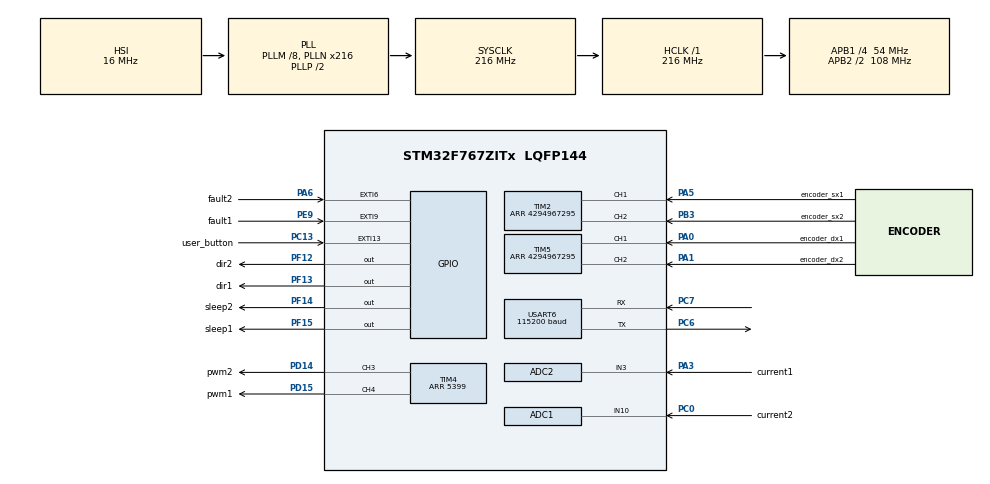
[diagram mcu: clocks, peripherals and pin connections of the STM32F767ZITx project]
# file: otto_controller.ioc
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ADC1.Channel-0\#ChannelRegularConversion=ADC_CHANNEL_10
ADC1.ContinuousConvMode=DISABLE
ADC1.ExternalTrigConv=ADC_EXTERNALTRIGCONV_T8_TRGO
ADC1.NbrOfConversionFlag=1
ADC1.Rank-0\#ChannelRegularConversion=1
ADC1.SamplingTime-0\#ChannelRegularConversion=ADC_SAMPLETIME_3CYCLES
ADC1.master=1
ADC2.Channel-0\#ChannelRegularConversion=ADC_CHANNEL_3
ADC2.ExternalTrigConv=ADC_EXTERNALTRIGCONV_T8_TRGO
ADC2.NbrOfConversionFlag=1
ADC2.Rank-0\#ChannelRegularConversion=1
ADC2.SamplingTime-0\#ChannelRegularConversion=ADC_SAMPLETIME_3CYCLES
CORTEX_M7.ART_ACCLERATOR_ENABLE=0
CORTEX_M7.CPU_DCache=Disabled
CORTEX_M7.CPU_ICache=Disabled
CORTEX_M7.PREFETCH_ENABLE=0
Dma.Request0=USART6_TX
Dma.Request1=USART6_RX
Dma.USART6_RX.1.Direction=DMA_PERIPH_TO_MEMORY
Dma.USART6_RX.1.FIFOMode=DMA_FIFOMODE_DISABLE
Dma.USART6_RX.1.Instance=DMA2_Stream1
Dma.USART6_RX.1.MemDataAlignment=DMA_MDATAALIGN_BYTE
Dma.USART6_RX.1.MemInc=DMA_MINC_ENABLE
Dma.USART6_RX.1.Mode=DMA_NORMAL
Dma.USART6_RX.1.PeriphDataAlignment=DMA_PDATAALIGN_BYTE
Dma.USART6_RX.1.PeriphInc=DMA_PINC_DISABLE
Dma.USART6_RX.1.Priority=DMA_PRIORITY_LOW
Dma.USART6_TX.0.Direction=DMA_MEMORY_TO_PERIPH
Dma.USART6_TX.0.FIFOMode=DMA_FIFOMODE_DISABLE
Dma.USART6_TX.0.Instance=DMA2_Stream6
Dma.USART6_TX.0.MemDataAlignment=DMA_MDATAALIGN_BYTE
Dma.USART6_TX.0.MemInc=DMA_MINC_ENABLE
Dma.USART6_TX.0.Mode=DMA_NORMAL
Dma.USART6_TX.0.PeriphDataAlignment=DMA_PDATAALIGN_BYTE
Dma.USART6_TX.0.PeriphInc=DMA_PINC_DISABLE
Dma.USART6_TX.0.Priority=DMA_PRIORITY_LOW
Mcu.Family=STM32F7
Mcu.Name=STM32F767ZITx
Mcu.Package=LQFP144
NVIC.ADC_IRQn=true\:0\:0\:false\:false\:true\:true\:true\:true
NVIC.DMA2_Stream1_IRQn=true\:0\:0\:false\:true\:true\:4\:false\:true\:true
NVIC.DMA2_Stream6_IRQn=true\:0\:0\:false\:true\:true\:3\:false\:true\:true
NVIC.EXTI15_10_IRQn=true\:0\:0\:false\:false\:true\:true\:true\:true
NVIC.PriorityGroup=NVIC_PRIORITYGROUP_2
NVIC.TIM6_DAC_IRQn=true\:1\:2\:true\:true\:true\:1\:true\:true\:true
NVIC.USART6_IRQn=true\:0\:0\:true\:true\:true\:2\:true\:true\:true
PA0/WKUP.GPIO_Label=encoder_dx1
PA0/WKUP.Signal=S_TIM5_CH1
PA1.GPIO_Label=encoder_dx2
PA1.Signal=S_TIM5_CH2
PA13.Mode=Serial_Wire
PA13.Signal=SYS_JTMS-SWDIO
PA14.Mode=Serial_Wire
PA14.Signal=SYS_JTCK-SWCLK
PA3.GPIO_Label=current1
PA3.Signal=ADCx_IN3
PA5.GPIO_Label=encoder_sx1
PA5.Signal=S_TIM2_CH1_ETR
PA6.GPIO_Label=fault2
PA6.GPIO_ModeDefaultEXTI=GPIO_MODE_IT_FALLING
PA6.GPIO_PuPd=GPIO_PULLUP
PA6.Signal=GPXTI6
PB3.GPIO_Label=encoder_sx2
PB3.Signal=S_TIM2_CH2
PC0.GPIO_Label=current2
PC0.Signal=ADCx_IN10
PC13.GPIO_Label=user_button
PC13.Signal=GPXTI13
PC6.GPIO_Speed=GPIO_SPEED_FREQ_LOW
PC6.Mode=Asynchronous
PC6.Signal=USART6_TX
PC7.GPIO_Speed=GPIO_SPEED_FREQ_LOW
PC7.Mode=Asynchronous
PC7.Signal=USART6_RX
PD14.GPIO_Label=pwm2
PD14.Signal=S_TIM4_CH3
PD15.GPIO_Label=pwm1
PD15.Signal=S_TIM4_CH4
PE9.GPIO_Label=fault1
PE9.GPIO_ModeDefaultEXTI=GPIO_MODE_IT_FALLING
PE9.GPIO_PuPd=GPIO_PULLUP
PE9.Signal=GPXTI9
PF12.GPIO_Label=dir2
PF12.Signal=GPIO_Output
PF13.GPIO_Label=dir1
PF13.Signal=GPIO_Output
PF14.GPIO_Label=sleep2
PF14.GPIO_ModeDefaultOutputPP=GPIO_MODE_OUTPUT_PP
PF14.GPIO_PuPd=GPIO_PULLUP
PF14.PinState=GPIO_PIN_SET
PF14.Signal=GPIO_Output
PF15.GPIO_Label=sleep1
PF15.GPIO_PuPd=GPIO_PULLUP
PF15.PinState=GPIO_PIN_SET
PF15.Signal=GPIO_Output
ProjectManager.HeapSize=0x200
ProjectManager.StackSize=0x400
ProjectManager.TargetToolchain=STM32CubeIDE
RCC.AHBFreq_Value=216000000
RCC.APB1CLKDivider=RCC_HCLK_DIV4
RCC.APB1Freq_Value=54000000
RCC.APB1TimFreq_Value=108000000
RCC.APB2CLKDivider=RCC_HCLK_DIV2
RCC.APB2Freq_Value=108000000
RCC.APB2TimFreq_Value=216000000
RCC.CortexFreq_Value=216000000
RCC.HCLKFreq_Value=216000000
RCC.HSE_VALUE=25000000
RCC.HSI_VALUE=16000000
RCC.LSE_VALUE=32768
RCC.PLLM=8
RCC.PLLN=216
RCC.SYSCLKFreq_VALUE=216000000
RCC.SYSCLKSource=RCC_SYSCLKSOURCE_PLLCLK
RCC.USBFreq_Value=216000000
RCC.VCOOutputFreq_Value=432000000
SH.ADCx_IN10.0=ADC1_IN10,IN10
SH.ADCx_IN3.0=ADC2_IN3,IN3
SH.S_TIM2_CH1_ETR.0=TIM2_CH1,Encoder_Interface
SH.S_TIM2_CH2.0=TIM2_CH2,Encoder_Interface
SH.S_TIM4_CH3.0=TIM4_CH3,PWM Generation3 CH3
SH.S_TIM4_CH4.0=TIM4_CH4,PWM Generation4 CH4
SH.S_TIM5_CH1.0=TIM5_CH1,Encoder_Interface
SH.S_TIM5_CH2.0=TIM5_CH2,Encoder_Interface
TIM2.EncoderMode=TIM_ENCODERMODE_TI12
TIM2.Period=4294967295
TIM4.Channel-PWM\ Generation3\ CH3=TIM_CHANNEL_3
TIM4.Channel-PWM\ Generation4\ CH4=TIM_CHANNEL_4
TIM4.Period=5399
TIM5.EncoderMode=TIM_ENCODERMODE_TI12
TIM5.Period=4294967295
TIM6.Period=107
TIM6.Prescaler=9999
TIM8.Channel-PWM\ Generation1\ No\ Output=TIM_CHANNEL_1
TIM8.Period=2699
TIM8.TIM_MasterOutputTrigger=TIM_TRGO_UPDATE
USART6.BaudRate=115200
USART6.DMADisableonRxErrorParam=ADVFEATURE_DMA_DISABLEONRXERROR
USART6.Parity=PARITY_NONE
USART6.VirtualMode-Asynchronous=VM_ASYNC
USART6.WordLength=WORDLENGTH_8B
VP_CRC_VS_CRC.Mode=CRC_Activate
VP_TIM4_VS_ClockSourceINT.Mode=Internal
VP_TIM6_VS_ClockSourceINT.Mode=Enable_Timer
VP_TIM8_VS_no_output1.Mode=PWM Generation1 No Output
board=custom

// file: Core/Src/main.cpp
/* USER CODE BEGIN Header */
/**
 ******************************************************************************
 * @file           : main.c
 * @brief          : Main program body
 ******************************************************************************
 * @attention
 *
 * <h2><center>&copy; Copyright (c) 2019 STMicroelectronics.
 * All rights reserved.</center></h2>
 *
 * This software component is licensed by ST under BSD 3-Clause license,
 * the "License"; You may not use this file except in compliance with the
 * License. You may obtain a copy of the License at:
 *                        opensource.org/licenses/BSD-3-Clause
 *
 ******************************************************************************
 */
/* USER CODE END Header */
#include "main.h"
#include "adc.h"
#include "crc.h"
#include "dma.h"
#include "tim.h"
#include "usart.h"
#include "gpio.h"

/* USER CODE BEGIN Includes */

#include "control/encoder.h"
#include "control/odometry.h"
#include "control/motor_controller.h"
#include "control/pid.h"

#include "communication/otto_messages.h"

/* USER CODE END Includes */

/* USER CODE BEGIN PV */

//Odometry
Encoder right_encoder;
Encoder left_encoder;
Odometry odom;

//PID
Pid left_pid;
Pid right_pid;
Pid cross_pid;

//MotorController
MotorController right_motor(sleep1_GPIO_Port,
sleep1_Pin,
                            dir1_GPIO_Port,
                            dir1_Pin,
                            &htim4, TIM_CHANNEL_4);
MotorController left_motor(sleep2_GPIO_Port,
sleep2_Pin,
                           dir2_GPIO_Port,
                           dir2_Pin,
                           &htim4, TIM_CHANNEL_3);

//Communication
ConfigMessage config_msg;
VelocityMessage vel_msg;
StatusMessage status_msg;

volatile int32_t left_ticks;
volatile int32_t right_ticks;
volatile float previous_tx_millis;
volatile uint8_t tx_done_flag = 1;
volatile uint16_t otto_status = 0;
volatile uint16_t encoder_counter1 = 0;
volatile uint16_t encoder_counter2 = 0;
volatile uint32_t adc1_val;
volatile uint32_t adc2_val;
volatile double exp_1 =0;
volatile double exp_2 =0;
const float alpha = 0.1f;
volatile uint32_t adc1_counter =0;
volatile uint32_t adc2_counter =0;
/* USER CODE END PV */

void SystemClock_Config(void);
static void MX_NVIC_Init(void);

int main(void)
{

  /* MCU Configuration--------------------------------------------------------*/

  /* Reset of all peripherals, Initializes the Flash interface and the Systick. */
  HAL_Init();

  /* Configure the system clock */
  SystemClock_Config();

  /* Initialize all configured peripherals */
  MX_GPIO_Init();
  MX_DMA_Init();
  MX_TIM2_Init();
  MX_TIM4_Init();
  MX_TIM5_Init();
  MX_USART6_UART_Init();
  MX_TIM6_Init();
  MX_CRC_Init();
  MX_ADC1_Init();
  MX_ADC2_Init();
  MX_TIM8_Init();

  /* Initialize interrupts */
  MX_NVIC_Init();
  /* USER CODE BEGIN 2 */

  //wait for config
  HAL_StatusTypeDef config_status = HAL_UART_Receive(&huart6, (uint8_t*) &config_msg, sizeof(config_msg), 60*1000);
  uint32_t config_crc = HAL_CRC_Calculate(&hcrc, (uint32_t*) &config_msg, sizeof(config_msg) - 4);
  if (config_crc != config_msg.crc || config_status != HAL_OK){
    status_msg.status = 2;
    status_msg.crc = HAL_CRC_Calculate(&hcrc, (uint32_t*) &status_msg, sizeof(status_msg) - 4);
    while(1){
      HAL_UART_Transmit(&huart6, (uint8_t*) &status_msg, sizeof(status_msg), 1000);
    }
  }

  left_encoder = Encoder(&htim2, config_msg.left_wheel_circumference,
                         config_msg.ticks_per_revolution);
  right_encoder = Encoder(&htim5, config_msg.right_wheel_circumference,
                           config_msg.ticks_per_revolution);

  odom = Odometry(config_msg.baseline);

  left_encoder.Setup();
  right_encoder.Setup();

  left_motor.Setup();
  right_motor.Setup();

  //right and left motors have the same parameters
  uint32_t max_dutycycle = *(&htim4.Instance->ARR);
  int pid_min = 0;
  int pid_max = 0;
  pid_min = -(int) max_dutycycle;
  pid_max = (int) max_dutycycle;

  left_pid.Config(config_msg.kp_left, config_msg.ki_left, config_msg.kd_left, pid_min, pid_max);
  right_pid.Config(config_msg.kp_right, config_msg.ki_right, config_msg.kd_right, pid_min, pid_max);
  cross_pid.Config(config_msg.kp_cross, config_msg.ki_cross, config_msg.kd_cross, pid_min, pid_max);

  left_motor.Coast();
  right_motor.Coast();

  //start ADC
  HAL_ADC_Start_IT(&hadc1);
  HAL_ADC_Start_IT(&hadc2);

  // start timer for ADC
  HAL_TIM_PWM_Start(&htim8, TIM_CHANNEL_1);

  //Enables TIM6 interrupt (used for PID control)
  HAL_TIM_Base_Start_IT(&htim6);

  //Enables UART RX interrupt
  HAL_UART_Receive_DMA(&huart6, (uint8_t*) &vel_msg, 12);

  /* USER CODE END 2 */

  /* Infinite loop */
  while (1) {

  }
}

void SystemClock_Config(void)
{
  RCC_OscInitTypeDef RCC_OscInitStruct = {0};
  RCC_ClkInitTypeDef RCC_ClkInitStruct = {0};
  RCC_PeriphCLKInitTypeDef PeriphClkInitStruct = {0};

  /** Configure the main internal regulator output voltage
  */
  __HAL_RCC_PWR_CLK_ENABLE();
  __HAL_PWR_VOLTAGESCALING_CONFIG(PWR_REGULATOR_VOLTAGE_SCALE1);
  /** Initializes the RCC Oscillators according to the specified parameters
  * in the RCC_OscInitTypeDef structure.
  */
  RCC_OscInitStruct.OscillatorType = RCC_OSCILLATORTYPE_HSI;
  RCC_OscInitStruct.HSIState = RCC_HSI_ON;
  RCC_OscInitStruct.HSICalibrationValue = RCC_HSICALIBRATION_DEFAULT;
  RCC_OscInitStruct.PLL.PLLState = RCC_PLL_ON;
  RCC_OscInitStruct.PLL.PLLSource = RCC_PLLSOURCE_HSI;
  RCC_OscInitStruct.PLL.PLLM = 8;
  RCC_OscInitStruct.PLL.PLLN = 216;
  RCC_OscInitStruct.PLL.PLLP = RCC_PLLP_DIV2;
  RCC_OscInitStruct.PLL.PLLQ = 2;
  RCC_OscInitStruct.PLL.PLLR = 2;
  if (HAL_RCC_OscConfig(&RCC_OscInitStruct) != HAL_OK)
  {
    Error_Handler();
  }
  /** Activate the Over-Drive mode
  */
  if (HAL_PWREx_EnableOverDrive() != HAL_OK)
  {
    Error_Handler();
  }
  /** Initializes the CPU, AHB and APB buses clocks
  */
  RCC_ClkInitStruct.ClockType = RCC_CLOCKTYPE_HCLK|RCC_CLOCKTYPE_SYSCLK
                              |RCC_CLOCKTYPE_PCLK1|RCC_CLOCKTYPE_PCLK2;
  RCC_ClkInitStruct.SYSCLKSource = RCC_SYSCLKSOURCE_PLLCLK;
  RCC_ClkInitStruct.AHBCLKDivider = RCC_SYSCLK_DIV1;
  RCC_ClkInitStruct.APB1CLKDivider = RCC_HCLK_DIV4;
  RCC_ClkInitStruct.APB2CLKDivider = RCC_HCLK_DIV2;

  if (HAL_RCC_ClockConfig(&RCC_ClkInitStruct, FLASH_LATENCY_7) != HAL_OK)
  {
    Error_Handler();
  }
  PeriphClkInitStruct.PeriphClockSelection = RCC_PERIPHCLK_USART6;
  PeriphClkInitStruct.Usart6ClockSelection = RCC_USART6CLKSOURCE_PCLK2;
  if (HAL_RCCEx_PeriphCLKConfig(&PeriphClkInitStruct) != HAL_OK)
  {
    Error_Handler();
  }
}

/**
  * @brief NVIC Configuration.
  * @retval None
  */
static void MX_NVIC_Init(void)
{
  /* TIM6_DAC_IRQn interrupt configuration */
  HAL_NVIC_SetPriority(TIM6_DAC_IRQn, 1, 2);
  HAL_NVIC_EnableIRQ(TIM6_DAC_IRQn);
  /* USART6_IRQn interrupt configuration */
  HAL_NVIC_SetPriority(USART6_IRQn, 0, 0);
  HAL_NVIC_EnableIRQ(USART6_IRQn);
  /* DMA2_Stream6_IRQn interrupt configuration */
  HAL_NVIC_SetPriority(DMA2_Stream6_IRQn, 0, 0);
  HAL_NVIC_EnableIRQ(DMA2_Stream6_IRQn);
  /* DMA2_Stream1_IRQn interrupt configuration */
  HAL_NVIC_SetPriority(DMA2_Stream1_IRQn, 0, 0);
  HAL_NVIC_EnableIRQ(DMA2_Stream1_IRQn);
}

/* USER CODE BEGIN 4 */
void HAL_TIM_PeriodElapsedCallback(TIM_HandleTypeDef *htim) {

	 if(htim->Instance == TIM6)  {
  //TIMER 100Hz PID control

  //accumulate ticks for transmission
  left_ticks += left_encoder.GetCount();
  right_ticks += right_encoder.GetCount();

  //PID control
  float left_velocity = left_encoder.GetLinearVelocity();
  int left_dutycycle = left_pid.Update(left_velocity);

  float right_velocity = right_encoder.GetLinearVelocity();
  int right_dutycycle = right_pid.Update(right_velocity);

  float difference = left_velocity - right_velocity;
  int cross_dutycycle = cross_pid.Update(difference);

  left_dutycycle += cross_dutycycle;
  right_dutycycle -= cross_dutycycle;

  left_motor.SetSpeed(left_dutycycle);
  right_motor.SetSpeed(right_dutycycle);
	 }

}

void HAL_UART_RxCpltCallback(UART_HandleTypeDef *UartHandle) {
  /*
   * Manage received message
   */

  uint32_t crc_rx = HAL_CRC_Calculate(&hcrc, (uint32_t*) &vel_msg, 8);

  float linear_velocity;
  float angular_velocity;

  if (crc_rx == vel_msg.crc) {
    linear_velocity = vel_msg.linear_velocity;
    angular_velocity = vel_msg.angular_velocity;
    otto_status = 1;
  } else {
    linear_velocity = 0;
    angular_velocity = 0;
    otto_status = 3;
  }

  odom.FromCmdVelToSetpoint(linear_velocity, angular_velocity);

  float left_setpoint = odom.GetLeftVelocity();
  float right_setpoint = odom.GetRightVelocity();

  left_pid.Set(left_setpoint);
  right_pid.Set(right_setpoint);

  float cross_setpoint = left_setpoint - right_setpoint;
  cross_pid.Set(cross_setpoint);

  /*
   * Manage new transmission
   */

  int32_t left_ticks_tx = left_ticks + left_encoder.GetCount();
  int32_t right_ticks_tx = right_ticks + right_encoder.GetCount();

  //watch dog for encoder
  if (left_ticks_tx == 0 && left_setpoint !=0){
	  encoder_counter1++;
  }else{
	  encoder_counter1 =0;
  }

  if (right_ticks_tx == 0 && right_setpoint !=0){
	  encoder_counter2++;
  }else{
	  encoder_counter2 =0;
  }
  if (encoder_counter1 == 10 || encoder_counter2 == 10){

   	  HAL_TIM_Base_Stop_IT(&htim6);
   	  left_motor.Brake();
   	  right_motor.Brake();
   	  otto_status = 5;

  }

  status_msg.left_ticks = left_ticks_tx;
  status_msg.right_ticks = right_ticks_tx;

  left_ticks = 0;
  right_ticks = 0;

  float current_tx_millis = HAL_GetTick();
  status_msg.delta_millis = current_tx_millis - previous_tx_millis;
  previous_tx_millis = current_tx_millis;

  status_msg.status = otto_status;

  uint32_t crc_tx = HAL_CRC_Calculate(&hcrc, (uint32_t*) &status_msg, 12);

  status_msg.crc = crc_tx;

  if (tx_done_flag == 1) {
    HAL_UART_Transmit_DMA(&huart6, (uint8_t*) &status_msg, sizeof(status_msg));
    tx_done_flag = 0;
  }

  if (otto_status == 5 || otto_status == 6){
	  while(1);
  }

  HAL_UART_Receive_DMA(&huart6, (uint8_t*) &vel_msg, sizeof(vel_msg));
}

void HAL_UART_TxCpltCallback(UART_HandleTypeDef *UartHandle) {
  tx_done_flag = 1;
}

uint8_t uart_err = 0;
void HAL_UART_ErrorCallback(UART_HandleTypeDef *UartHandle) {
  uart_err += 1;
}

void HAL_GPIO_EXTI_Callback(uint16_t GPIO_Pin) {
  //Blue user button on the NUCLEO board
  if (GPIO_Pin == user_button_Pin) {
    //TODO ci può servire il bottone blu?
  } else if (GPIO_Pin == fault1_Pin) {
    left_motor.Brake();
    right_motor.Brake();
    //stop TIM6 interrupt (used for PID control)
    HAL_TIM_Base_Stop_IT(&htim6);
    otto_status = 4;
  } else if (GPIO_Pin == fault2_Pin) {
    left_motor.Brake();
    right_motor.Brake();
    //stop TIM6 interrupt (used for PID control)
    HAL_TIM_Base_Stop_IT(&htim6);
    otto_status = 4;
  }

}

void HAL_ADC_ConvCpltCallback(ADC_HandleTypeDef *hadc)
{
	 if(hadc->Instance == ADC1)  {
		 adc1_val =HAL_ADC_GetValue(&hadc1);
		 exp_1 = exp_1 + alpha*(adc1_val-exp_1);

	 } else{
		 adc2_val = HAL_ADC_GetValue(&hadc2);
		 exp_2 = exp_2 + alpha*(adc1_val-exp_2);
	 }

	 if (exp_1>=400){
		 adc1_counter ++;
	 }else{
		 adc1_counter =0;
	 }

	 if (exp_2>=400){
		 adc2_counter ++;
	 }else{
		 adc2_counter =0;
	 }

	 if(adc1_counter >= 40000 || adc2_counter >= 40000){
		 HAL_TIM_Base_Stop_IT(&htim6);
		 left_motor.Brake();
		 right_motor.Brake();
		 otto_status = 6;
	 }
}
/* USER CODE END 4 */

void Error_Handler(void)
{
}

/************************ (C) COPYRIGHT STMicroelectronics *****END OF FILE****/
